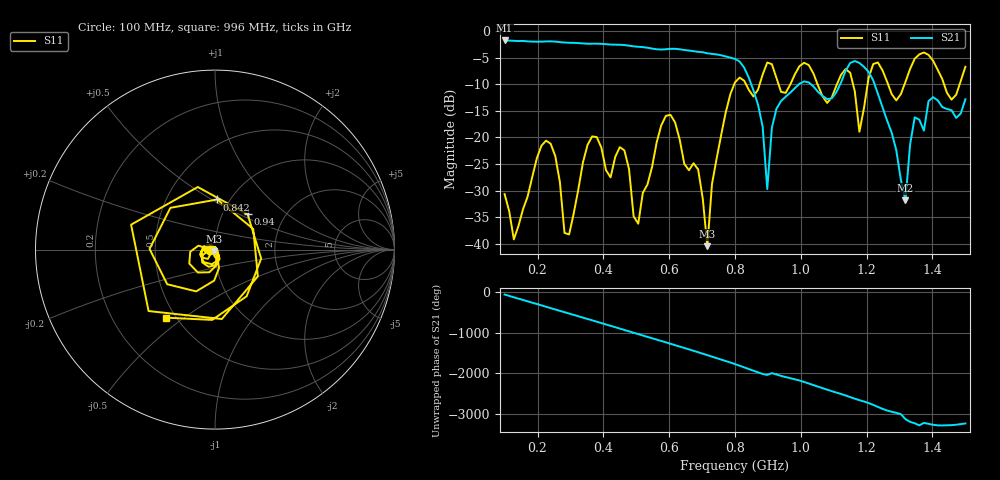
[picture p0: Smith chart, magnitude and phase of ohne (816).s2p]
! NanoVNA-App
! Date: 2025-09-25 14:27:09
! Start: 100MHz Stop: 1,5GHz Points: 101
! S-Parameter data: F S11 S21 S12 S22
# Hz S RI R 50
!  Frequency  S11_Real  S11_Imag  S21_Real  S21_Imag  S12_Real  S12_Imag  S22_Real  S22_Imag
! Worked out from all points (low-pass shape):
!   101 points, 100 MHz to 1.5 GHz, reference 50 ohm
!   highest |S21| = -1.79 dB at 100 MHz (marker M1); lowest = -31.8 dB at 1.318 GHz (marker M2)
!   |S21| within 3 dB of the highest: start of sweep to 771.4 MHz
!   lowest |S11| = -40.4 dB at 716 MHz (marker M3), VSWR 1.02, Z = 49.7 - j0.903 ohm
!   |S11| at or under -10 dB: start of sweep to 797.8 MHz; 833.2 MHz to 875.1 MHz (41.81 MHz wide, 4.9 % of centre); 1.051 GHz to 1.11 GHz (59.31 MHz wide, 5.49 % of centre) (the widest 3 of 7)
!   S12 and S22 are empty: the file has one direction only
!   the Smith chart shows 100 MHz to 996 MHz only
!   S11 on the Smith chart (normalised r, x): 100 MHz: 0.94, -0.01; 842 MHz: 0.88, +0.53; 940 MHz: 1.31, +0.55; 996 MHz: 0.44, -0.43
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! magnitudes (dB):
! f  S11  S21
! 100 MHz  -30.6  -1.8
! 128 MHz  -39.1  -1.9
! 226 MHz  -20.6  -2.0
! 296 MHz  -38.2  -2.2
! 338 MHz  -24.7  -2.4
! 464 MHz  -22.4  -2.7
! 506 MHz  -36.2  -3.0
! 576 MHz  -17.7  -3.5
! 688 MHz  -26.0  -3.9
! 716 MHz  -40.4  -4.2
! 800 MHz  -9.7  -5.3
! 842 MHz  -11.1  -8.8
! 898 MHz  -5.9  -29.7
! 940 MHz  -11.4  -13.2
! 996 MHz  -6.6  -9.9
! 1.038 GHz  -7.9  -10.4
! 1.178 GHz  -18.9  -6.0
! 1.22 GHz  -6.2  -9.3
! 1.276 GHz  -11.9  -19.1
! 1.318 GHz  -9.6  -31.8
! 1.346 GHz  -5.2  -16.2
! 1.5 GHz  -6.7  -12.8
